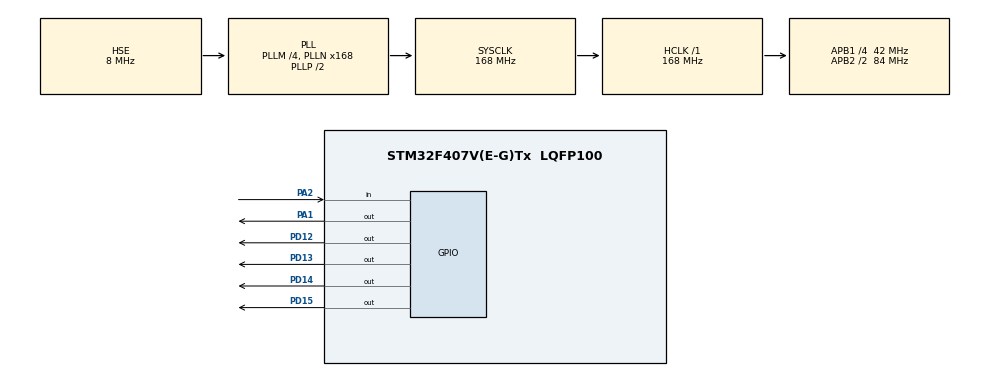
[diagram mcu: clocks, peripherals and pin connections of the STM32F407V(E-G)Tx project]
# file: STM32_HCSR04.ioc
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Mcu.Family=STM32F4
Mcu.Name=STM32F407V(E-G)Tx
Mcu.Package=LQFP100
NVIC.PriorityGroup=NVIC_PRIORITYGROUP_0
PA1.Signal=GPIO_Output
PA2.Signal=GPIO_Input
PD12.Signal=GPIO_Output
PD13.Signal=GPIO_Output
PD14.Signal=GPIO_Output
PD15.Signal=GPIO_Output
PH0-OSC_IN.Mode=HSE-External-Oscillator
PH0-OSC_IN.Signal=RCC_OSC_IN
PH1-OSC_OUT.Mode=HSE-External-Oscillator
PH1-OSC_OUT.Signal=RCC_OSC_OUT
ProjectManager.HeapSize=0x200
ProjectManager.StackSize=0x400
ProjectManager.TargetToolchain=STM32CubeIDE
RCC.48MHZClocksFreq_Value=48000000
RCC.AHBFreq_Value=168000000
RCC.APB1CLKDivider=RCC_HCLK_DIV4
RCC.APB1Freq_Value=42000000
RCC.APB1TimFreq_Value=84000000
RCC.APB2CLKDivider=RCC_HCLK_DIV2
RCC.APB2Freq_Value=84000000
RCC.APB2TimFreq_Value=168000000
RCC.CortexFreq_Value=168000000
RCC.HCLKFreq_Value=168000000
RCC.HSE_VALUE=8000000
RCC.HSI_VALUE=16000000
RCC.LSE_VALUE=32768
RCC.PLLM=4
RCC.PLLN=168
RCC.PLLQ=7
RCC.PLLSourceVirtual=RCC_PLLSOURCE_HSE
RCC.SYSCLKFreq_VALUE=168000000
RCC.SYSCLKSource=RCC_SYSCLKSOURCE_PLLCLK
RCC.VCOOutputFreq_Value=336000000
board=STM32F407G-DISC1

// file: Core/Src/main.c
/* USER CODE BEGIN Header */
/**
  ******************************************************************************
  * @file           : main.c
  * @brief          : Main program body
  ******************************************************************************
  * @attention
  *
  * Copyright (c) 2024 STMicroelectronics.
  * All rights reserved.
  *
  * This software is licensed under terms that can be found in the LICENSE file
  * in the root directory of this software component.
  * If no LICENSE file comes with this software, it is provided AS-IS.
  *
  ******************************************************************************
  */
/* USER CODE END Header */
#include "main.h"

/* USER CODE BEGIN Includes */

#include "dwt_stm32_delay.h"

/* USER CODE END Includes */

void SystemClock_Config(void);
static void MX_GPIO_Init(void);

/* USER CODE BEGIN 0 */

////////////////////////////////////-> USER SETTINGS
#define TRIG_PIN 	GPIO_PIN_1
#define ECHO_PIN 	GPIO_PIN_2

#define TRIG_PORT 	GPIOA
#define ECHO_PORT 	GPIOA
///////////////////////////////////

uint32_t time;
uint16_t distance;

uint32_t Read_HCSR04()
{
	uint32_t local_time = 0;                            	//-> It is us timer

	HAL_GPIO_WritePin(TRIG_PORT, TRIG_PIN, GPIO_PIN_SET);
	DWT_Delay_us(10);                                		//-> Delay 10us
	HAL_GPIO_WritePin(TRIG_PORT, TRIG_PIN, GPIO_PIN_RESET);

	while(!HAL_GPIO_ReadPin(ECHO_PORT, ECHO_PIN));      	//-> Wait to echo pin

	while(HAL_GPIO_ReadPin(ECHO_PORT, ECHO_PIN))        	//-> Coming to data from echo pin
	{
		local_time++;
		DWT_Delay_us(1);                                	//-> Delay 1us
	}

	return local_time;
}

/* USER CODE END 0 */

int main(void)
{

  /* MCU Configuration--------------------------------------------------------*/

  /* Reset of all peripherals, Initializes the Flash interface and the Systick. */
  HAL_Init();

  /* Configure the system clock */
  SystemClock_Config();

  /* Initialize all configured peripherals */
  MX_GPIO_Init();
  /* USER CODE BEGIN 2 */

  DWT_Delay_Init();

  /* USER CODE END 2 */

  /* Infinite loop */
  while (1)
  {
    /* USER CODE BEGIN 3 */

	time = Read_HCSR04();
	distance = time * 0.034 / 2;
	HAL_Delay(50);
	if (distance <= 6)
	{
		HAL_GPIO_WritePin(GPIOD, GPIO_PIN_12, GPIO_PIN_RESET);
		HAL_GPIO_WritePin(GPIOD, GPIO_PIN_13, GPIO_PIN_RESET);
		HAL_GPIO_WritePin(GPIOD, GPIO_PIN_14, GPIO_PIN_RESET);
		HAL_GPIO_WritePin(GPIOD, GPIO_PIN_15, GPIO_PIN_RESET);
	}
	if(distance >= 6 && distance < 12)
	{
		HAL_GPIO_WritePin(GPIOD, GPIO_PIN_12, GPIO_PIN_SET);
		HAL_GPIO_WritePin(GPIOD, GPIO_PIN_13, GPIO_PIN_RESET);
		HAL_GPIO_WritePin(GPIOD, GPIO_PIN_14, GPIO_PIN_RESET);
		HAL_GPIO_WritePin(GPIOD, GPIO_PIN_15, GPIO_PIN_RESET);
	}
	else if(distance >= 12 && distance < 18)
	{
		HAL_GPIO_WritePin(GPIOD, GPIO_PIN_12, GPIO_PIN_SET);
		HAL_GPIO_WritePin(GPIOD, GPIO_PIN_13, GPIO_PIN_SET);
		HAL_GPIO_WritePin(GPIOD, GPIO_PIN_14, GPIO_PIN_RESET);
		HAL_GPIO_WritePin(GPIOD, GPIO_PIN_15, GPIO_PIN_RESET);
	}
	else if(distance >= 18 && distance < 24)
	{
		HAL_GPIO_WritePin(GPIOD, GPIO_PIN_12, GPIO_PIN_SET);
		HAL_GPIO_WritePin(GPIOD, GPIO_PIN_13, GPIO_PIN_SET);
		HAL_GPIO_WritePin(GPIOD, GPIO_PIN_14, GPIO_PIN_SET);
		HAL_GPIO_WritePin(GPIOD, GPIO_PIN_15, GPIO_PIN_RESET);
	}
	else if(distance >= 24)
	{
		HAL_GPIO_WritePin(GPIOD, GPIO_PIN_12, GPIO_PIN_SET);
		HAL_GPIO_WritePin(GPIOD, GPIO_PIN_13, GPIO_PIN_SET);
		HAL_GPIO_WritePin(GPIOD, GPIO_PIN_14, GPIO_PIN_SET);
		HAL_GPIO_WritePin(GPIOD, GPIO_PIN_15, GPIO_PIN_SET);
	}
  }
  /* USER CODE END 3 */
}

void SystemClock_Config(void)
{
  RCC_OscInitTypeDef RCC_OscInitStruct = {0};
  RCC_ClkInitTypeDef RCC_ClkInitStruct = {0};

  /** Configure the main internal regulator output voltage
  */
  __HAL_RCC_PWR_CLK_ENABLE();
  __HAL_PWR_VOLTAGESCALING_CONFIG(PWR_REGULATOR_VOLTAGE_SCALE1);

  /** Initializes the RCC Oscillators according to the specified parameters
  * in the RCC_OscInitTypeDef structure.
  */
  RCC_OscInitStruct.OscillatorType = RCC_OSCILLATORTYPE_HSE;
  RCC_OscInitStruct.HSEState = RCC_HSE_ON;
  RCC_OscInitStruct.PLL.PLLState = RCC_PLL_ON;
  RCC_OscInitStruct.PLL.PLLSource = RCC_PLLSOURCE_HSE;
  RCC_OscInitStruct.PLL.PLLM = 4;
  RCC_OscInitStruct.PLL.PLLN = 168;
  RCC_OscInitStruct.PLL.PLLP = RCC_PLLP_DIV2;
  RCC_OscInitStruct.PLL.PLLQ = 7;
  if (HAL_RCC_OscConfig(&RCC_OscInitStruct) != HAL_OK)
  {
    Error_Handler();
  }

  /** Initializes the CPU, AHB and APB buses clocks
  */
  RCC_ClkInitStruct.ClockType = RCC_CLOCKTYPE_HCLK|RCC_CLOCKTYPE_SYSCLK
                              |RCC_CLOCKTYPE_PCLK1|RCC_CLOCKTYPE_PCLK2;
  RCC_ClkInitStruct.SYSCLKSource = RCC_SYSCLKSOURCE_PLLCLK;
  RCC_ClkInitStruct.AHBCLKDivider = RCC_SYSCLK_DIV1;
  RCC_ClkInitStruct.APB1CLKDivider = RCC_HCLK_DIV4;
  RCC_ClkInitStruct.APB2CLKDivider = RCC_HCLK_DIV2;

  if (HAL_RCC_ClockConfig(&RCC_ClkInitStruct, FLASH_LATENCY_5) != HAL_OK)
  {
    Error_Handler();
  }
}

static void MX_GPIO_Init(void)
{
  GPIO_InitTypeDef GPIO_InitStruct = {0};

  /* GPIO Ports Clock Enable */
  __HAL_RCC_GPIOH_CLK_ENABLE();
  __HAL_RCC_GPIOA_CLK_ENABLE();
  __HAL_RCC_GPIOD_CLK_ENABLE();

  /*Configure GPIO pin Output Level */
  HAL_GPIO_WritePin(GPIOA, GPIO_PIN_1, GPIO_PIN_RESET);

  /*Configure GPIO pin Output Level */
  HAL_GPIO_WritePin(GPIOD, GPIO_PIN_12|GPIO_PIN_13|GPIO_PIN_14|GPIO_PIN_15, GPIO_PIN_RESET);

  /*Configure GPIO pin : PA1 */
  GPIO_InitStruct.Pin = GPIO_PIN_1;
  GPIO_InitStruct.Mode = GPIO_MODE_OUTPUT_PP;
  GPIO_InitStruct.Pull = GPIO_NOPULL;
  GPIO_InitStruct.Speed = GPIO_SPEED_FREQ_LOW;
  HAL_GPIO_Init(GPIOA, &GPIO_InitStruct);

  /*Configure GPIO pin : PA2 */
  GPIO_InitStruct.Pin = GPIO_PIN_2;
  GPIO_InitStruct.Mode = GPIO_MODE_INPUT;
  GPIO_InitStruct.Pull = GPIO_NOPULL;
  HAL_GPIO_Init(GPIOA, &GPIO_InitStruct);

  /*Configure GPIO pins : PD12 PD13 PD14 PD15 */
  GPIO_InitStruct.Pin = GPIO_PIN_12|GPIO_PIN_13|GPIO_PIN_14|GPIO_PIN_15;
  GPIO_InitStruct.Mode = GPIO_MODE_OUTPUT_PP;
  GPIO_InitStruct.Pull = GPIO_NOPULL;
  GPIO_InitStruct.Speed = GPIO_SPEED_FREQ_LOW;
  HAL_GPIO_Init(GPIOD, &GPIO_InitStruct);

}

void Error_Handler(void)
{
  __disable_irq();
  while (1)
  {
  }
}
